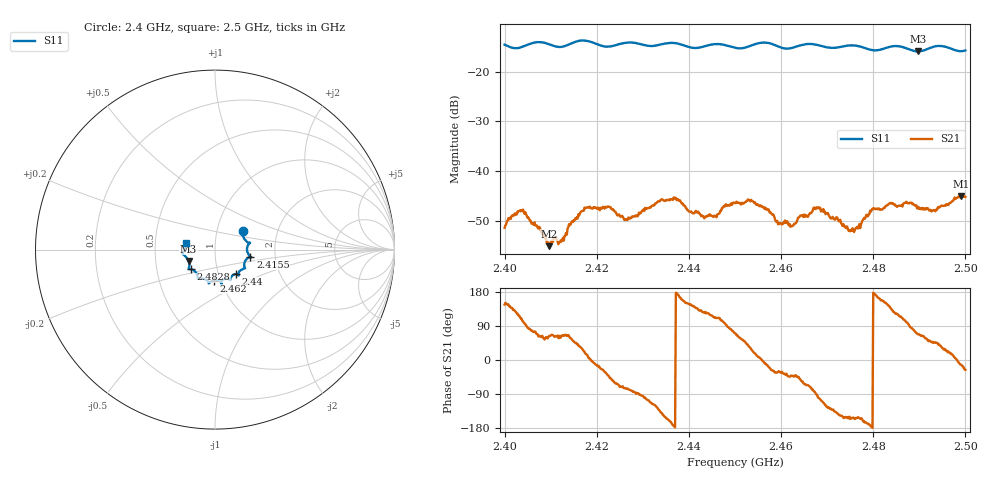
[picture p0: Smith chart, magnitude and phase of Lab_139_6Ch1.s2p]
# Hz S RI R 50
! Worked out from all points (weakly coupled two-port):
!   601 points, 2.4 GHz to 2.5 GHz, reference 50 ohm
!   highest |S21| = -45.02 dB at 2.499 GHz (marker M1); lowest = -55.1 dB at 2.4097 GHz (marker M2)
!   lowest |S11| = -15.9 dB at 2.4897 GHz (marker M3), VSWR 1.38, Z = 36.9 - j4.84 ohm
!   |S11| at or under -10 dB: start of sweep to end of sweep
!   S12 and S22 are empty: the file has one direction only
!   S11 on the Smith chart (normalised r, x): 2.4 GHz: 1.33, +0.29; 2.4155 GHz: 1.49, -0.12; 2.44 GHz: 1.21, -0.34; 2.462 GHz: 0.93, -0.33; 2.4828 GHz: 0.74, -0.17; 2.5 GHz: 0.72, +0.06
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2.4e9  0.155 0.1061  -0.00223 0.00148  0 0  0 0
2.403667e9  0.1704 0.0504  -0.00137 0.0038  0 0  0 0
2.409667e9  0.1874 0.03  0.00078 0.00156  0 0  0 0
2.412333e9  0.1783 -0.00474  0.000882 0.00174  0 0  0 0
2.4155e9  0.1976 -0.0396  0.00232 0.00233  0 0  0 0
2.416667e9  0.2025 -0.0429  0.00333 0.00206  0 0  0 0
2.4225e9  0.1651 -0.0705  0.00326 -0.00287  0 0  0 0
2.426333e9  0.1674 -0.1028  0.000833 -0.00314  0 0  0 0
2.433333e9  0.13 -0.1337  -0.00316 -0.00383  0 0  0 0
2.437167e9  0.1317 -0.143  -0.00536 0.000242  0 0  0 0
2.44e9  0.1143 -0.1363  -0.00332 0.00209  0 0  0 0
2.4455e9  0.0841 -0.1704  -0.00133 0.0033  0 0  0 0
2.45e9  0.0648 -0.1625  0.00159 0.00449  0 0  0 0
2.453333e9  0.0363 -0.1791  0.00419 0.00262  0 0  0 0
2.462e9  -0.0055 -0.1726  0.00198 -0.0019  0 0  0 0
2.466667e9  -0.0345 -0.1877  0.000832 -0.00377  0 0  0 0
2.4755e9  -0.0938 -0.1594  -0.00235 -0.00123  0 0  0 0
2.482833e9  -0.1362 -0.1091  -0.00387 0.00228  0 0  0 0
2.483333e9  -0.1401 -0.1088  -0.00372 0.0028  0 0  0 0
2.489667e9  -0.1475 -0.0639  0.00162 0.00405  0 0  0 0
2.499e9  -0.1601 0.0214  0.00549 -0.00117  0 0  0 0
2.5e9  -0.1594 0.0395  0.00494 -0.00241  0 0  0 0
